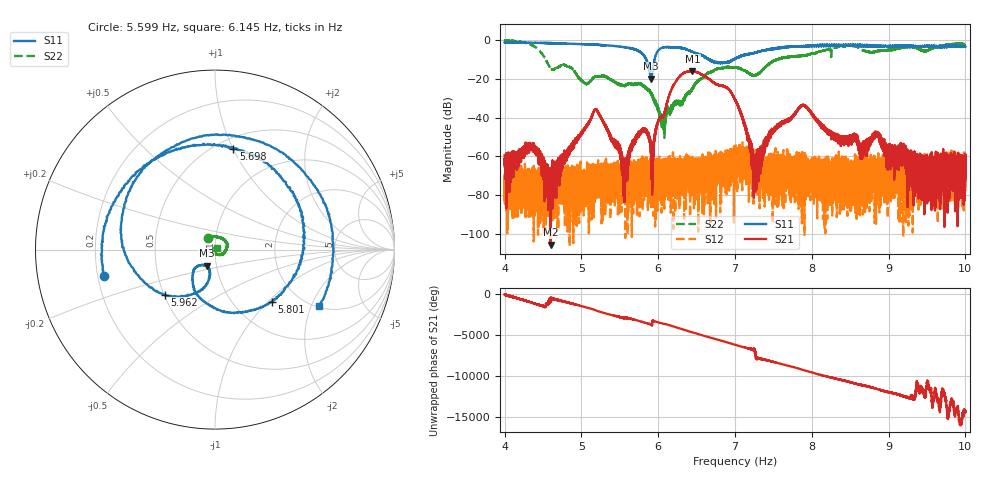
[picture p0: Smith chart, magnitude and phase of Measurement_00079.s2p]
!Created with skrf (http://scikit-rf.org).
# Hz S RI R 50.0
!freq ReS11 ImS11 ReS21 ImS21 ReS12 ImS12 ReS22 ImS22
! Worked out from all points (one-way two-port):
!   14001 points, 4 Hz to 10 Hz, reference 50 ohm
!   highest |S21| = -16.08 dB at 6.446 Hz (marker M1); lowest = -105.7 dB at 4.598 Hz (marker M2)
!   lowest |S11| = -20.0 dB at 5.908 Hz (marker M3), VSWR 1.22, Z = 44.9 - j8.12 ohm
!   |S11| at or under -10 dB: 5.843 Hz to 5.952 Hz (109.1 mHz wide, 1.85 % of centre); 6.656214 Hz to 6.65689 Hz (675.6 uHz wide, 0.0101 % of centre); 6.658 Hz to 6.986 Hz (327.8 mHz wide, 4.81 % of centre) (the widest 3 of 8)
!   |S22| runs from -50.5 to -0.2 dB; largest |S21 - S12| = 0.16
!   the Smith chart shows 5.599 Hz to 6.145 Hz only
!   S11 on the Smith chart (normalised r, x): 5.599 Hz: 0.23, -0.11; 5.698 Hz: 0.60, +1.00; 5.801 Hz: 1.48, -1.05; 5.962 Hz: 0.50, -0.29; 6.145 Hz: 2.07, -2.28
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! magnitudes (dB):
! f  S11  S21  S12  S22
! 4 Hz  -1.2  -59.4  -75.3  -0.2
! 4.357 Hz  -1.3  -56.3  -69.8  -2.6
! 4.598 Hz  -1.6  -105.7  -79.1  -14.4
! 5 Hz  -2.1  -48.7  -67.2  -20.8
! 5.196 Hz  -2.5  -36.0  -77.5  -18.9
! 5.555 Hz  -3.7  -77.6  -78.6  -23.5
! 5.599 Hz  -3.9  -64.3  -71.0  -22.8
! 5.698 Hz  -4.9  -51.3  -65.2  -22.7
! 5.801 Hz  -7.3  -46.7  -68.0  -23.5
! 5.908 Hz  -20.0  -61.8  -87.1  -27.5
! 5.962 Hz  -8.5  -47.5  -67.7  -31.6
! 6 Hz  -5.4  -42.0  -64.2  -35.7
! 6.145 Hz  -3.6  -28.2  -65.3  -37.6
! 6.446 Hz  -6.1  -16.1  -67.6  -25.3
! 7 Hz  -9.6  -30.7  -65.7  -14.0
! 7.265 Hz  -6.3  -71.9  -66.3  -18.1
! 7.534 Hz  -4.2  -45.3  -65.3  -10.3
! 8 Hz  -3.1  -37.9  -64.7  -6.9
! 8.646 Hz  -3.1  -56.5  -69.7  -4.8
! 8.845 Hz  -3.0  -47.6  -63.9  -5.8
! 9 Hz  -3.3  -59.7  -63.4  -5.0
! 10 Hz  -3.4  -71.7  -76.3  -3.1
